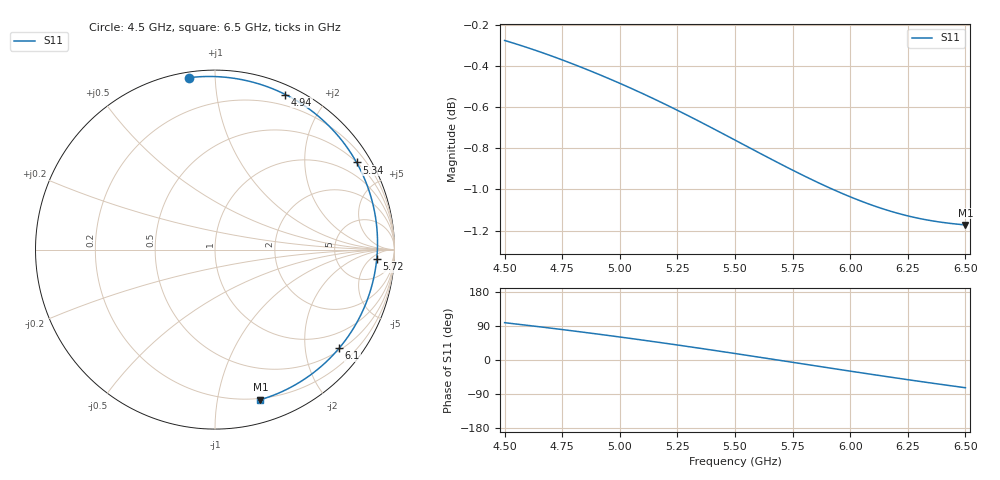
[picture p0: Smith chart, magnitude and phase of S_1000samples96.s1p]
! TOUCHSTONE file generated by CST MICROWAVE STUDIO
! Date and time: Wed Oct 26 23:48:52 2022
! Project name: L.cst
! Parameters = {Di=1.27; Epsilon_r=1.56; InnerDiameter=1.27; Length=2; Lf=10; Lg=60; OuterConductorThickness=0.2921; OuterDiameter=3.6; Wf=3; Wp=41.2; de=1.5; df=6.8; g=0.8; gx=4.18755; gy=4.7932; h=2.34; hf=1.524; px=9.20796; py=10.6433; w=9.7; wx=5.0204; wy=5.85009}
! Header version: 2018
! Port assignment regex: !\s*Touchstone port\s*([0-9]+)\s*=\s*(CST MWS port|CST DS port)\s*([0-9]+|Zmin|Zmax)\s*\(\"(.*)\"\)(\s*mode\s*([0-9]+))?.*
! Touchstone port assignment:
! Touchstone port 1 = CST MWS port 1 ("")
# GHz S DB R 50
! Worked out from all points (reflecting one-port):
!   101 points, 4.5 GHz to 6.5 GHz, reference 50 ohm
!   lowest |S11| = -1.2 dB at 6.5 GHz (marker M1), VSWR 14.83, Z = 9.41 - j66.5 ohm
!   phase of S11 starts at 98 deg and turns -172 deg over the sweep
!   S11 on the Smith chart (normalised r, x): 4.5 GHz: 0.03, +0.86; 4.94 GHz: 0.09, +1.55; 5.34 GHz: 0.51, +3.46; 5.72 GHz: 15, -8; 6.1 GHz: 0.55, -2.76; 6.5 GHz: 0.19, -1.33
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4.5  -0.28 98.4
4.58  -0.30 92.8
4.64  -0.33 88.5
4.76  -0.37 79.6
4.86  -0.42 71.9
4.94  -0.46 65.6
5  -0.48 60.7
5.12  -0.55 50.7
5.18  -0.58 45.6
5.26  -0.62 38.7
5.34  -0.67 31.6
5.42  -0.71 24.4
5.5  -0.76 17.1
5.56  -0.80 11.6
5.62  -0.83 6.0
5.72  -0.89 -3.3
5.76  -0.91 -7.0
5.82  -0.95 -12.7
5.88  -0.98 -18.3
5.94  -1.01 -23.8
6  -1.04 -29.4
6.1  -1.08 -38.5
6.18  -1.11 -45.7
6.26  -1.13 -52.8
6.32  -1.15 -58.0
6.38  -1.16 -63.1
6.44  -1.17 -68.2
6.5  -1.17 -73.2
